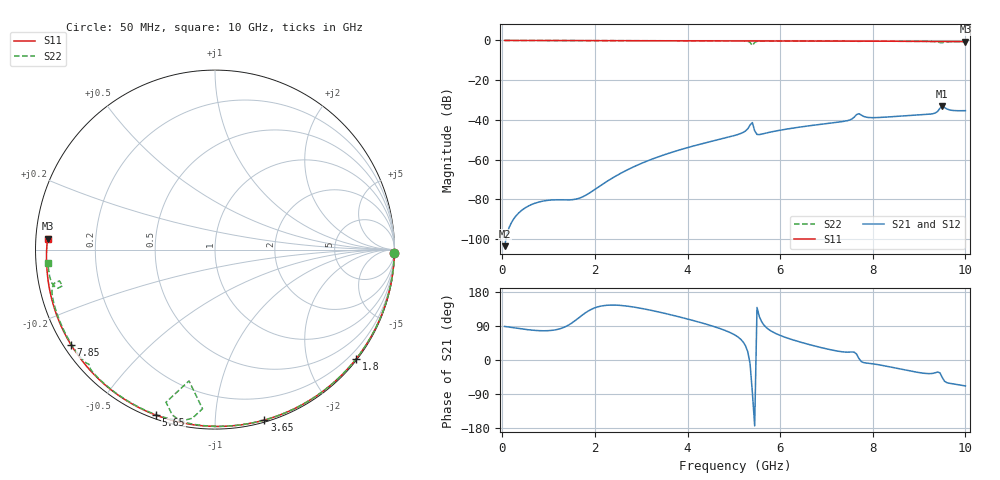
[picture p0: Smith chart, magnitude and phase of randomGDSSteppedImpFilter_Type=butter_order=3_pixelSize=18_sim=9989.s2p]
! freq	dB(S11)	phase(S11)	dB(S12)	phase(S12)
!  dB(S21)	phase(S21)	dB(S22)	phase(S22)
!S-par simulation data
#  GHz  S  DB  R 50
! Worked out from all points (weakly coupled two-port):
!   200 points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, 50 MHz to 10 GHz, reference 50 ohm
!   highest |S21| = -33.19 dB at 9.5 GHz (marker M1); lowest = -103.7 dB at 50 MHz (marker M2)
!   lowest |S11| = -0.6 dB at 10 GHz (marker M3), VSWR 29.77, Z = 1.68 + j1.61 ohm
!   |S11| at or under -10 dB: nowhere
!   |S22| runs from -2.5 to 0.0 dB; largest |S21 - S12| = 0
!   S11 on the Smith chart (normalised r, x): 50 MHz: open; 1.8 GHz: 0.03, -2.93; 3.65 GHz: 0.02, -1.33; 5.65 GHz: 0.02, -0.71; 7.85 GHz: 0.02, -0.30; 10 GHz: 0.03, +0.03
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0.05  -0.00 -1.1  -103.65 88.5  -103.65 88.5  -0.00 -1.0
1.55  -0.04 -32.5  -80.11 101.8  -80.11 101.8  -0.04 -31.2
1.75  -0.05 -36.6  -78.63 120.6  -78.63 120.6  -0.04 -35.1
1.8  -0.05 -37.6  -78.02 124.9  -78.02 124.9  -0.05 -36.1
2.6  -0.07 -53.7  -66.40 143.5  -66.40 143.5  -0.07 -51.5
3.4  -0.09 -69.1  -58.38 126.1  -58.38 126.1  -0.09 -66.4
3.65  -0.10 -73.8  -56.43 119.0  -56.43 119.0  -0.10 -71.0
5.05  -0.15 -99.2  -47.68 64.0  -47.68 64.0  -0.17 -96.8
5.25  -0.16 -102.7  -45.62 38.0  -45.62 38.0  -0.28 -102.2
5.35  -0.17 -104.4  -42.63 -9.4  -42.63 -9.4  -0.98 -107.8
5.4  -0.17 -105.3  -41.38 -85.6  -41.38 -85.6  -2.55 -101.2
5.45  -0.17 -106.1  -45.56 -173.7  -45.56 -173.7  -1.02 -94.5
5.5  -0.18 -107.0  -47.36 138.6  -47.36 138.6  -0.47 -97.6
5.65  -0.18 -109.6  -46.92 92.2  -46.92 92.2  -0.23 -102.9
6.7  -0.25 -127.3  -42.77 38.4  -42.77 38.4  -0.24 -121.9
7.45  -0.31 -139.8  -40.42 20.7  -40.42 20.7  -0.31 -134.4
7.7  -0.33 -143.9  -36.90 4.1  -36.90 4.1  -0.45 -137.9
7.85  -0.34 -146.4  -38.62 -7.9  -38.62 -7.9  -0.36 -140.2
8.35  -0.39 -154.8  -38.52 -17.7  -38.52 -17.7  -0.38 -148.6
9.3  -0.50 -171.2  -36.90 -35.2  -36.90 -35.2  -0.56 -165.7
9.5  -0.52 -174.6  -33.19 -46.1  -33.19 -46.1  -1.18 -166.6
10  -0.58 176.3  -35.38 -68.6  -35.38 -68.6  -0.60 -175.6
